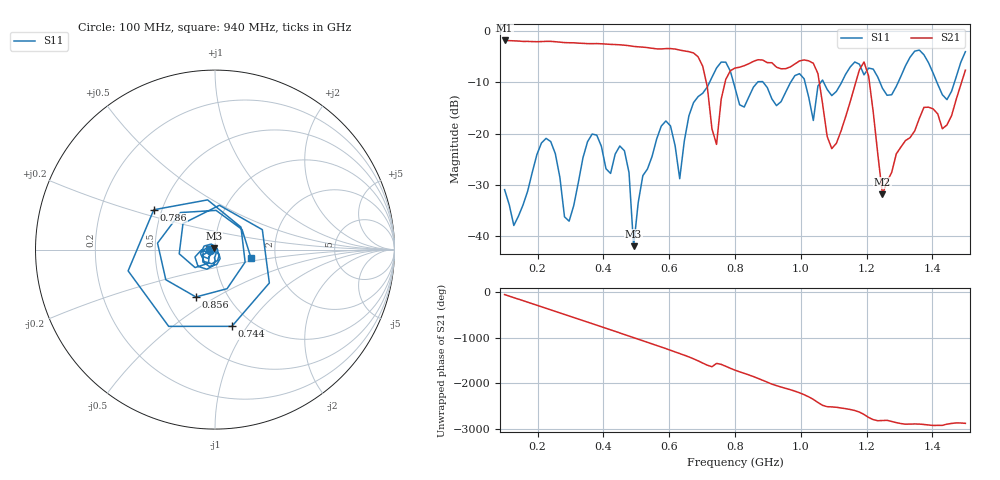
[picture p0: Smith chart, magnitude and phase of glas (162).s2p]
! NanoVNA-App
! Date: 2025-09-25 15:56:44
! Start: 100MHz Stop: 1,5GHz Points: 101
! S-Parameter data: F S11 S21 S12 S22
# Hz S RI R 50
!  Frequency  S11_Real  S11_Imag  S21_Real  S21_Imag  S12_Real  S12_Imag  S22_Real  S22_Imag
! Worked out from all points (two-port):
!   101 points, 100 MHz to 1.5 GHz, reference 50 ohm
!   highest |S21| = -1.80 dB at 100 MHz (marker M1); lowest = -31.8 dB at 1.248 GHz (marker M2)
!   |S21| within 3 dB of the highest: start of sweep to 684.3 MHz
!   lowest |S11| = -42.0 dB at 492 MHz (marker M3), VSWR 1.02, Z = 49.5 + j0.615 ohm
!   |S11| at or under -10 dB: start of sweep to 722.5 MHz; 795.4 MHz to 868.1 MHz (72.7 MHz wide, 8.74 % of centre); 886 MHz to 968.8 MHz (82.85 MHz wide, 8.93 % of centre) (the widest 3 of 7)
!   S12 and S22 are empty: the file has one direction only
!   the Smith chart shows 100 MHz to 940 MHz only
!   S11 on the Smith chart (normalised r, x): 100 MHz: 0.95, -0.01; 744 MHz: 0.81, -0.85; 786 MHz: 0.45, +0.24; 856 MHz: 0.71, -0.41; 940 MHz: 1.49, -0.14
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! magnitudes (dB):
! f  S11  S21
! 100 MHz  -31.0  -1.8
! 128 MHz  -37.9  -1.9
! 226 MHz  -20.9  -2.0
! 296 MHz  -37.1  -2.2
! 338 MHz  -24.7  -2.4
! 464 MHz  -23.3  -2.7
! 492 MHz  -42.0  -3.0
! 576 MHz  -18.5  -3.5
! 632 MHz  -28.8  -3.7
! 702 MHz  -12.1  -6.9
! 744 MHz  -7.2  -22.1
! 786 MHz  -7.8  -7.7
! 800 MHz  -11.1  -7.2
! 856 MHz  -10.9  -5.9
! 940 MHz  -13.8  -7.3
! 996 MHz  -8.3  -5.8
! 1.038 GHz  -17.4  -6.3
! 1.094 GHz  -12.6  -22.9
! 1.192 GHz  -8.5  -6.0
! 1.248 GHz  -11.1  -31.8
! 1.276 GHz  -12.4  -27.6
! 1.5 GHz  -4.0  -7.6
